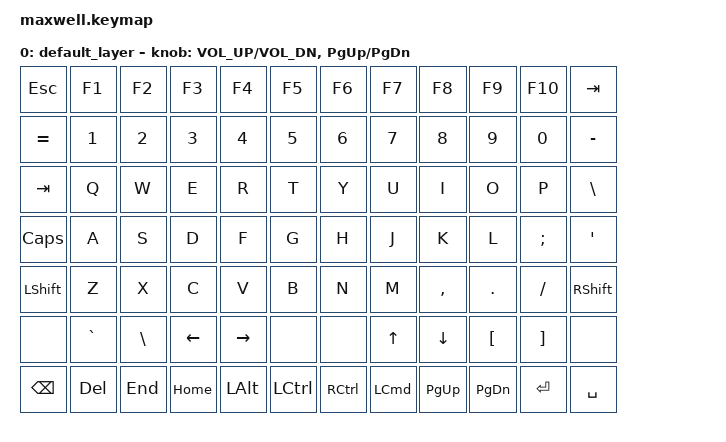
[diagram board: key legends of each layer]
#include <behaviors.dtsi>
#include <dt-bindings/zmk/keys.h>

/ {
    keymap {
        compatible = "zmk,keymap";

        default_layer {
            // ----------------------------------------------------------------------------------------------------
            // |  Esc   |  F1   |  F2   |  F3   |  F4   |  F5   |  F6   |  F7   |  F8   |  F9   |  F10   | RST    |
            // |  +/=   |   1   |   2   |   3   |   4   |   5   |   6   |   7   |   8   |   9   |   0    | -/_    |
            // |  TAB   |   Q   |   W   |   E   |   R   |   T   |   Y   |   U   |   I   |   O   |   P    | :/\    |
            // |  CAPS  |   A   |   S   |   D   |   F   |   G   |   H   |   J   |   K   |   L   |   ;    | '/"    |
            // | LSHIFT |   Z   |   X   |   C   |   V   |   B   |   N   |   M   |   ,   |   .   |   /    | RSHIFT |
            // |        |   ~   |  :/\  |  LA   |  RA   |       |       |   UA  |  DA   |   [   |   ]    |        |
            // |  BS    |  DEL  |  End  | HOME  |  ALT  |  CTRL |  CTRL |  Win  | PgUp  |  PgDn | Enter  | Space  |

            bindings = <
&kp ESC    &kp F1     &kp F2    &kp F3    &kp F4     &kp F5     &kp F6     &kp F7    &kp F8     &kp F9     &kp F10    &kp TAB
&kp EQUAL  &kp N1     &kp N2    &kp N3    &kp N4     &kp N5     &kp N6     &kp N7    &kp N8     &kp N9     &kp N0     &kp MINUS
&kp TAB    &kp Q      &kp W     &kp E     &kp R      &kp T      &kp Y      &kp U     &kp I      &kp O      &kp P      &kp BSLH
&kp CAPS   &kp A      &kp S     &kp D     &kp F      &kp G      &kp H      &kp J     &kp K      &kp L      &kp SEMI   &kp APOS
&kp LSHFT  &kp Z      &kp X     &kp C     &kp V      &kp B      &kp N      &kp M     &kp COMMA  &kp DOT    &kp SLASH  &kp RSHFT
&none      &kp GRAVE  &kp BSLH  &kp LEFT  &kp RIGHT  &none      &none      &kp UP    &kp DOWN   &kp LBKT   &kp RBKT   &none
&kp BSPC   &kp DEL    &kp END   &kp HOME  &kp LALT   &kp LCTRL  &kp RCTRL  &kp LCMD  &kp PG_UP  &kp PG_DN  &kp ENTER  &kp SPACE
            >;

            sensor-bindings = <&inc_dec_kp C_VOL_UP C_VOL_DN &inc_dec_kp PG_UP PG_DN>;
        };
    };
};
